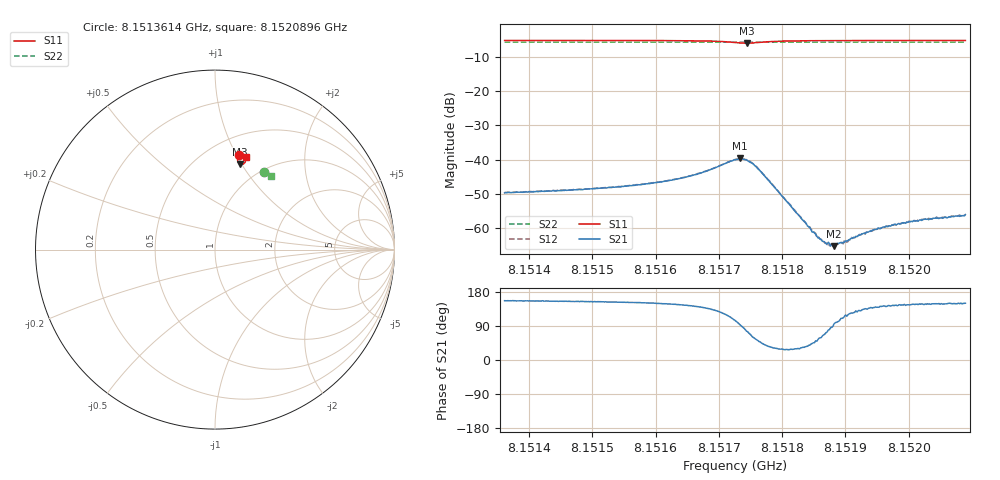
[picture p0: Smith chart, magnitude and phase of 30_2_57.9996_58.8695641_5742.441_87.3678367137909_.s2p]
#  HZ  S  RI  R  50.00
! Rohde & Schwarz Vector Network Analyzer
! Rohde-Schwarz,ZNB20-2Port,1311601062101988,3.16
! Created: UTC 3/21/2024, 12:51:39 AM
! freq[Hz]  re:S11  im:S11  re:S21  im:S21  re:S12  im:S12  re:S22  im:S22
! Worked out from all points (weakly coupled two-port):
!   401 points, 8.1513614 GHz to 8.1520896 GHz, reference 50 ohm
!   highest |S21| = -39.70 dB at 8.1517328 GHz (marker M1); lowest = -65.3 dB at 8.1518821 GHz (marker M2)
!   lowest |S11| = -6.1 dB at 8.1517437 GHz (marker M3), VSWR 2.97, Z = 39.1 + j49.3 ohm
!   |S11| at or under -10 dB: nowhere
!   |S22| runs from -5.8 to -5.8 dB; largest |S21 - S12| = 0.00031
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8.15136138e9  0.1322 0.5276  -0.00299 0.0013  -0.00302 0.00138  0.2741 0.4349
8.15148336e9  0.1425 0.5248  -0.0033 0.00157  -0.00329 0.00164  0.2806 0.4304
8.1515489e9  0.1486 0.5226  -0.00357 0.00188  -0.00358 0.00194  0.2842 0.428
8.15160534e9  0.155 0.5197  -0.00403 0.0024  -0.00397 0.00248  0.2872 0.426
8.15166542e9  0.1641 0.5124  -0.00473 0.00384  -0.00474 0.00396  0.2905 0.4233
8.1517255e9  0.163 0.4809  -0.0025 0.00965  -0.00235 0.00971  0.2929 0.42
8.15173278e9  0.1555 0.4762  -0.000742 0.0103  -0.000597 0.0102  0.293 0.4197
8.15174371e9  0.1409 0.476  0.00236 0.0096  0.00238 0.00967  0.2929 0.4196
8.15175463e9  0.1298 0.4846  0.0044 0.00738  0.00449 0.00727  0.2932 0.4196
8.15176738e9  0.1261 0.4976  0.00464 0.00458  0.00471 0.00455  0.2941 0.4198
8.15184748e9  0.1468 0.5196  0.00063 0.000604  0.000674 0.000638  0.2991 0.4171
8.15185841e9  0.1487 0.5199  0.000383 0.000606  0.000445 0.000564  0.2998 0.4167
8.15186751e9  0.1501 0.5199  0.00023 0.000579  0.000238 0.000554  0.3001 0.4164
8.15187479e9  0.1513 0.5199  0.000101 0.000587  9.99e-05 0.000544  0.3006 0.4161
8.15187843e9  0.1518 0.52  3.66e-05 0.000571  2.16e-05 0.000569  0.3009 0.416
8.15188207e9  0.1523 0.5198  -5.4e-05 0.000543  -1.43e-05 0.000602  0.301 0.4157
8.151893e9  0.1538 0.5198  -0.00021 0.000583  -0.000198 0.000561  0.3016 0.4154
8.15192577e9  0.1579 0.5195  -0.000546 0.000611  -0.000532 0.000618  0.3033 0.4141
8.15194944e9  0.1604 0.5192  -0.000726 0.000627  -0.000709 0.000633  0.3045 0.4132
8.15196946e9  0.1623 0.5188  -0.000869 0.000644  -0.000813 0.000686  0.3057 0.4124
8.15202408e9  0.1673 0.5177  -0.00112 0.000747  -0.00111 0.000764  0.3085 0.4103
8.15208963e9  0.1726 0.5163  -0.00136 0.000789  -0.0013 0.000798  0.3118 0.4075
